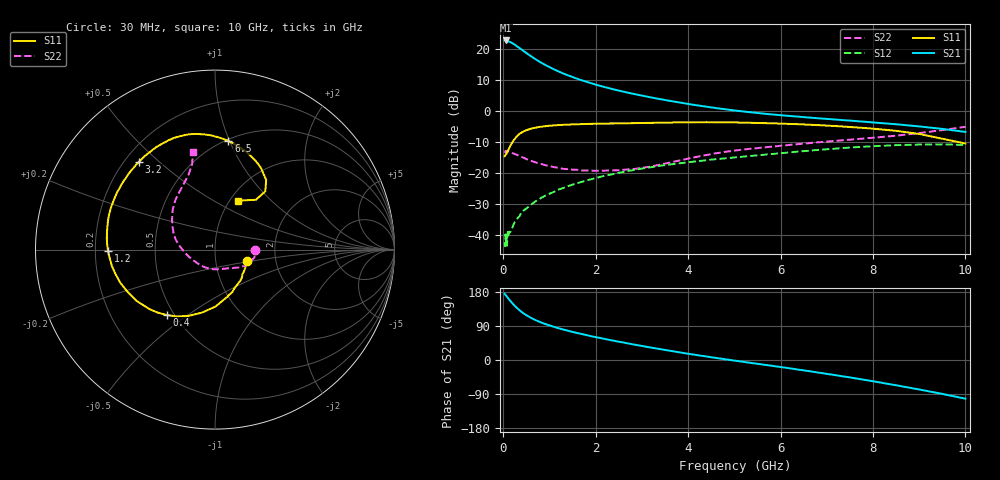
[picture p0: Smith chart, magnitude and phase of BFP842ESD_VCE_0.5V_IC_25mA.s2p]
! Infineon Technologies  Discrete & RF Semiconductors
! BFP842ESD
! VCE =  0.5 V,  IC =  25 mA
! Common Emitter S-Parameters:  May 2012
# GHz  S  MA  R  50
!  f  S11  S21  S12  S22
! GHz  MAG  ANG  MAG  ANG  MAG  ANG  MAG  ANG
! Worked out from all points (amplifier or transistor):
!   99 points, 30 MHz to 10 GHz, reference 50 ohm
!   highest |S21| = 22.7 dB at 60 MHz (marker M1)
!   |S21| within 3 dB of that: start of sweep to 403.8 MHz
!   unconditionally stable (mu >= 1): start of sweep to end of sweep
!   at 350 MHz: K = 1.90, MAG = 21.6 dB, |S12| = -33.9 dB
!   at 3.5 GHz: K = 1.48, MAG = 6.4 dB, |S12| = -17.4 dB
!   at 10 GHz: K = 2.27, MAG = -4.3 dB, |S12| = -10.9 dB
!   S11 on the Smith chart (normalised r, x): 30 MHz: 1.41, -0.19; 400 MHz: 0.46, -0.42; 1.2 GHz: 0.25, -0.01; 3.2 GHz: 0.26, +0.43; 6.5 GHz: 0.51, +0.99; 10 GHz: 1.09, +0.65
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0.03  0.188 -19.9  13.71 175.3  0.0077 22.2  0.2221 -0.2
0.05  0.1973 -31.6  13.55 171.9  0.0104 38.9  0.2148 -3.5
0.06  0.2027 -37.9  13.71 170.2  0.0072 34.4  0.2286 -4.7
0.11  0.2362 -60.7  13.31 162.2  0.0097 28.3  0.2238 -9.2
0.15  0.2727 -75.7  12.95 156.4  0.0112 49.7  0.2172 -13.6
0.25  0.3583 -101.6  11.75 142.8  0.0165 54.6  0.2044 -21.9
0.35  0.4281 -119.4  10.39 131.6  0.0203 56.6  0.1902 -28.6
0.4  0.4523 -126.3  9.753 126.6  0.0239 61.0  0.1826 -30.3
0.5  0.4932 -137.8  8.617 118.3  0.027 56.2  0.1689 -35.7
0.6  0.5219 -146.7  7.642 111.3  0.031 59.0  0.1585 -39.4
0.7  0.5412 -154.3  6.833 105.3  0.0354 57.6  0.1494 -42.7
0.9  0.5706 -166.1  5.585 95.4  0.0432 56.2  0.1353 -49.4
1.2  0.5961 -179.2  4.335 83.8  0.0547 54.9  0.1222 -60.2
1.7  0.6176 164.8  3.131 68.5  0.0725 50.6  0.1105 -80.1
2.4  0.6321 147.7  2.227 50.7  0.0976 42.3  0.111 -111.2
3.2  0.6467 130.8  1.659 32.8  0.1251 31.8  0.1283 -147.8
3.4  0.6514 127.0  1.557 28.7  0.132 29.4  0.1379 -156.1
5.1  0.6552 100.6  1.005 -3.2  0.1825 5.7  0.2359 162.2
6.5  0.6103 83.0  0.801 -27.4  0.227 -15.3  0.2995 142.8
6.7  0.6002 80.1  0.779 -31.0  0.2336 -18.8  0.3094 140.4
8.5  0.4817 53.7  0.614 -66.7  0.2829 -55.5  0.4023 116.1
10  0.3007 65.0  0.462 -102.0  0.2855 -95.6  0.5582 102.7
